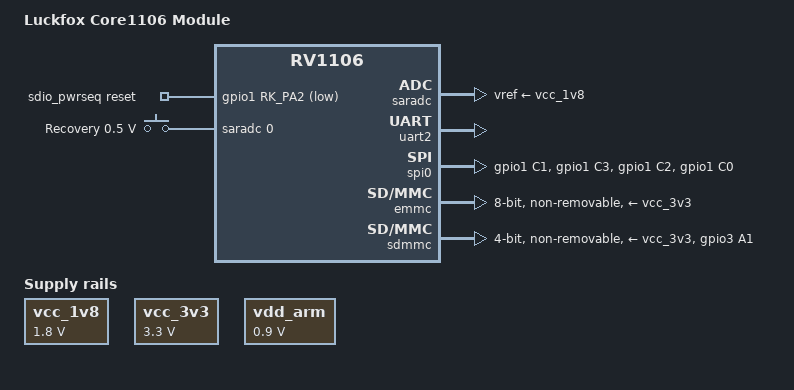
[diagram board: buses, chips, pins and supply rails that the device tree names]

// SPDX-License-Identifier: (GPL-2.0+ OR MIT)
/*
 * Copyright (c) 2022 Rockchip Electronics Co., Ltd.
 */

#include "rv1106.dtsi"
#include <dt-bindings/input/input.h>

/ {
	model = "Luckfox Core1106 Module";
	compatible = "luckfox,core1106","rockchip,rv1106";

	chosen {
		stdout-path = "serial2:115200n8";
	};

	vcc_1v8: vcc-1v8 {
		compatible = "regulator-fixed";
		regulator-name = "vcc_1v8";
		regulator-always-on;
		regulator-boot-on;
		regulator-min-microvolt = <1800000>;
		regulator-max-microvolt = <1800000>;
	};

	vcc_3v3: vcc-3v3 {
		compatible = "regulator-fixed";
		regulator-name = "vcc_3v3";
		regulator-always-on;
		regulator-boot-on;
		regulator-min-microvolt = <3300000>;
		regulator-max-microvolt = <3300000>;
	};

	vdd_arm: vdd-arm {
		compatible = "regulator-fixed";
		regulator-name = "vdd_arm";
		regulator-always-on;
		regulator-boot-on;
		regulator-min-microvolt = <900000>;
		regulator-max-microvolt = <900000>;
	};

	sdio_pwrseq: sdio-pwrseq {
		compatible = "mmc-pwrseq-simple";
		reset-gpios = <&gpio1 RK_PA2 GPIO_ACTIVE_LOW>;
	};

	adc-keys {
		compatible = "adc-keys";
		io-channels = <&saradc 0>;
		io-channel-names = "buttons";
		keyup-threshold-microvolt = <1000000>;
		poll-interval = <100>;

		button-recovery {
			label = "Recovery";
			linux,code = <KEY_SETUP>;
			press-threshold-microvolt = <500000>;
		};
	};
};

// FIXME: 1200 and 1296 MHz should work with 0.9V. Is this a carrier board issue?
&cpu0_opp_table {
		/delete-node/ opp-1200000000;
		/delete-node/ opp-1296000000;
		/delete-node/ opp-1416000000;
		/delete-node/ opp-1512000000;
		/delete-node/ opp-1608000000;
};

&usbdrd_dwc3 {
	extcon = <&u2phy>;
};

&cpu0 {
	cpu-supply = <&vdd_arm>;
};

&saradc {
	status = "okay";
	vref-supply = <&vcc_1v8>;
};

&i2c1 {
	pinctrl-0 = <&i2c1m1_xfer>;
};
&i2c2 {
	pinctrl-0 = <&i2c2m0_xfer>;
};

&uart0 {
	pinctrl-0 = <&uart0m0_xfer &uart0m1_xfer>;
};
&uart1 {
	pinctrl-0 = <&uart1m1_xfer>;
};
&uart2 {
	pinctrl-0 = <&uart2m1_xfer>;
	status = "okay";
};
&uart3 {
	pinctrl-0 = <&uart3m0_xfer &uart3m1_xfer>;
};
&uart4 {
	pinctrl-0 = <&uart4m0_xfer &uart4m1_xfer>;
};
&uart5 {
	pinctrl-0 = <&uart5m1_xfer>;
};

&pinctrl {
	spi0 {
		spi0m0_clk: spi0m0-clk {
			rockchip,pins = <1 RK_PC1 4 &pcfg_pull_none>;
		};
		spi0m0_mosi: spi0m0-mosi {
			rockchip,pins = <1 RK_PC2 6 &pcfg_pull_none>;
		};
		spi0m0_miso: spi0m0-miso {
			rockchip,pins = <1 RK_PC3 6 &pcfg_pull_none>;
		};
		spi0m0_cs0: spi0m0-cs0 {
			rockchip,pins = <1 RK_PC0 4 &pcfg_pull_none>;
		};
	};
};
&spi0 {
	pinctrl-0 = <&spi0m0_clk &spi0m0_miso &spi0m0_mosi &spi0m0_cs0>;
};

&emmc {
	cap-mmc-highspeed;
	mmc-ddr-3_3v;
	bus-width = <8>;
	non-removable;
	rockchip,default-sample-phase = <90>;
	no-sdio;
	no-sd;
	disable-wp;
	status = "okay";

	pinctrl-names = "default";
	pinctrl-0 = <&emmc_bus8 &emmc_cmd &emmc_clk>;

	vqmmc-supply = <&vcc_3v3>;
	vmmc-supply = <&vcc_3v3>;
	no-1-8-v;
};

&pinctrl {
	sdmmc0 {
		/omit-if-no-ref/
		sdmmc0_det: sdmmc0-det {
			rockchip,pins =
				/* sdmmc0_det */
				<3 RK_PA1 1 &pcfg_pull_down>;
		};
	};
};

&sdmmc {
	max-frequency = <50000000>;
	bus-width = <4>;
	cap-sd-highspeed;
	cap-sdio-irq;
	keep-power-in-suspend;
	non-removable;
	rockchip,default-sample-phase = <90>;
	no-sd;
	no-mmc;
	disable-wp;
	mmc-pwrseq = <&sdio_pwrseq>;
	pinctrl-names = "default";
	pinctrl-0 = <&sdmmc0_clk &sdmmc0_cmd &sdmmc0_bus4 &sdmmc0_det>;
	status = "okay";

	vqmmc-supply = <&vcc_3v3>;
	vmmc-supply = <&vcc_3v3>;
	no-1-8-v;
};
